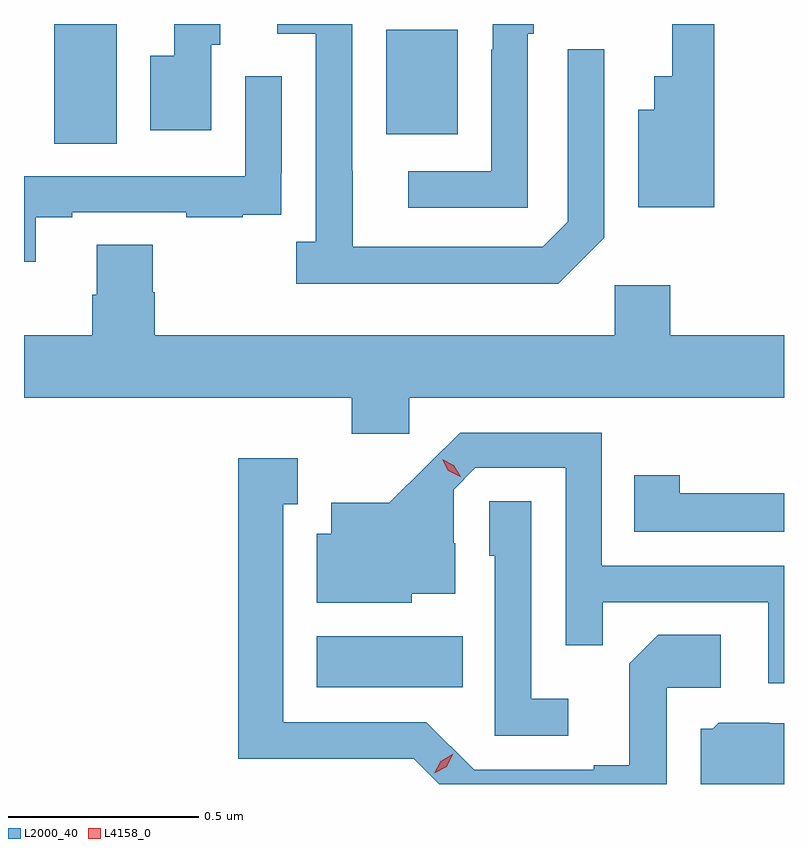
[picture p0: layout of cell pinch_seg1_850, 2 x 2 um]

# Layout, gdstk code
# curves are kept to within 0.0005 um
import gdstk
lib = gdstk.Library(unit=1e-6, precision=1e-09)
def R(c, l, rs):  # rectangles x0, y0, x1, y1
    for r in rs: c.add(gdstk.rectangle(r[:2], r[2:], *l))
def P(c, l, *ps):  # polygons
    for p in ps: c.add(gdstk.Polygon(p, *l))
L2000_40 = (2000, 40)
L4158_0 = (4158, 0)

pinch_seg1_850 = lib.new_cell('pinch_seg1_850')
R(pinch_seg1_850, L2000_40, [(462.38,569.618,462.764,569.752), (461.69,571.048,461.854,571.363), (462.563,571.073,462.751,571.348)])
P(pinch_seg1_850, L2000_40, [(463.137,570.801),(463.137,571.297),(463.041,571.297),(463.041,570.843),(462.975,570.777),(462.475,570.777),(462.475,570.977),(462.474,570.977),(462.474,571.363),(462.276,571.363),(462.276,571.338),(462.378,571.338),(462.378,570.79),(462.327,570.79),(462.327,570.68),(463.016,570.68)],
  [(463.426,571.363),(463.316,571.363),(463.316,571.225),(463.268,571.225),(463.268,571.138),(463.226,571.138),(463.226,570.881),(463.426,570.881)],
  [(462.936,571.337),(462.951,571.337),(462.951,571.363),(462.843,571.363),(462.843,571.295),(462.84,571.295),(462.84,570.975),(462.621,570.975),(462.621,570.879),(462.936,570.879)],
  [(462.103,571.308),(462.127,571.308),(462.127,571.363),(462.005,571.363),(462.005,571.279),(461.942,571.279),(461.942,571.083),(462.103,571.083)],
  [(461.641,570.855),(461.737,570.855),(461.737,570.867),(462.037,570.867),(462.037,570.855),(462.185,570.855),(462.185,570.861),(462.287,570.861),(462.287,570.97),(462.288,570.97),(462.288,571.225),(462.192,571.225),(462.192,570.963),(461.61,570.963),(461.61,570.738),(461.641,570.738)],
  [(462.624,570.38),(463.61,570.38),(463.61,570.544),(463.311,570.544),(463.311,570.676),(463.164,570.676),(463.164,570.544),(461.954,570.544),(461.954,570.657),(461.949,570.657),(461.949,570.782),(461.801,570.782),(461.801,570.65),(461.789,570.65),(461.789,570.544),(461.61,570.544),(461.61,570.38),(462.473,570.38),(462.473,570.285),(462.624,570.285)],
  [(463.61,569.937),(463.131,569.937),(463.131,570.288),(462.758,570.288),(462.571,570.103),(462.419,570.103),(462.419,570.022),(462.38,570.022),(462.38,569.84),(462.63,569.84),(462.63,569.864),(462.745,569.864),(462.745,569.996),(462.741,569.996),(462.741,570.138),(462.798,570.195),(463.035,570.195),(463.035,569.728),(463.133,569.728),(463.133,569.841),(463.569,569.841),(463.569,569.628),(463.61,569.628)],
  [(463.302,569.616),(463.444,569.616),(463.444,569.756),(463.279,569.756),(463.203,569.68),(463.203,569.413),(463.109,569.413),(463.109,569.4),(462.795,569.4),(462.669,569.526),(462.292,569.526),(462.292,570.099),(462.331,570.099),(462.331,570.22),(462.174,570.22),(462.174,569.429),(462.414,569.429),(462.414,569.43),(462.636,569.43),(462.703,569.363),(463.302,569.363)],
  [(463.61,570.128),(463.335,570.128),(463.335,570.175),(463.216,570.175),(463.216,570.027),(463.61,570.027)],
  [(463.042,569.587),(462.945,569.587),(462.945,570.107),(462.834,570.107),(462.834,569.964),(462.849,569.964),(462.849,569.49),(463.042,569.49)],
  [(463.61,569.523),(463.572,569.523),(463.572,569.524),(463.438,569.524),(463.422,569.508),(463.391,569.508),(463.391,569.363),(463.61,569.363)])
P(pinch_seg1_850, L4158_0, [(462.69,569.391),(462.69,569.391),(462.707,569.423),(462.739,569.442),(462.739,569.442),(462.739,569.442),(462.722,569.409),(462.69,569.391)],
  [(462.758,570.171),(462.727,570.187),(462.71,570.217),(462.71,570.217),(462.71,570.217),(462.741,570.202),(462.759,570.172),(462.759,570.171)])

lib.write_gds('pinch_seg1_850.gds')
